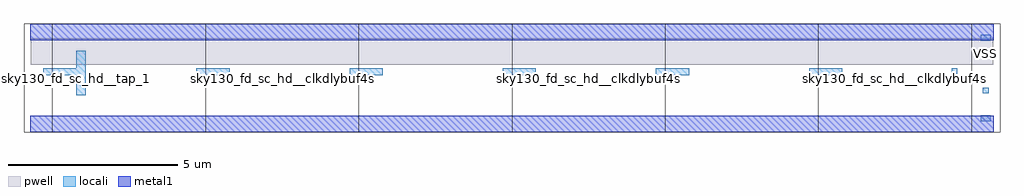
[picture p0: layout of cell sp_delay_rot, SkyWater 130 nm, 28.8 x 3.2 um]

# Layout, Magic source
magic
tech sky130A
magscale 1 2
<< pwell >>
rect 3 349 5681 506
<< locali >>
rect 5609 491 5667 527
rect 271 329 327 433
rect 5621 399 5655 433
rect 75 287 327 329
rect 979 287 1175 329
rect 1883 287 2079 329
rect 2787 287 2983 329
rect 3691 287 3887 329
rect 4595 287 4791 329
rect 5436 295 5470 329
rect 271 169 327 287
rect 5621 181 5655 215
rect 5609 17 5667 53
<< metal1 >>
rect 0 496 5684 592
rect 0 -48 5684 48
use sky130_fd_sc_hd__clkdlybuf4s50_2  sky130_fd_sc_hd__clkdlybuf4s50_2_0 $PDKPATH/libs.ref/sky130_fd_sc_hd/mag
transform -1 0 5516 0 -1 544
box -38 -48 866 592
use sky130_fd_sc_hd__clkdlybuf4s50_2  sky130_fd_sc_hd__clkdlybuf4s50_2_1
transform -1 0 4612 0 -1 544
box -38 -48 866 592
use sky130_fd_sc_hd__clkdlybuf4s50_2  sky130_fd_sc_hd__clkdlybuf4s50_2_2
transform -1 0 3708 0 -1 544
box -38 -48 866 592
use sky130_fd_sc_hd__clkdlybuf4s50_2  sky130_fd_sc_hd__clkdlybuf4s50_2_3
transform -1 0 2804 0 -1 544
box -38 -48 866 592
use sky130_fd_sc_hd__clkdlybuf4s50_2  sky130_fd_sc_hd__clkdlybuf4s50_2_4
transform -1 0 1900 0 -1 544
box -38 -48 866 592
use sky130_fd_sc_hd__clkdlybuf4s50_2  sky130_fd_sc_hd__clkdlybuf4s50_2_5
transform -1 0 996 0 -1 544
box -38 -48 866 592
use sky130_fd_sc_hd__tap_1  sky130_fd_sc_hd__tap_1_0 $PDKPATH/libs.ref/sky130_fd_sc_hd/mag
transform -1 0 5684 0 -1 544
box -38 -48 130 592
use sky130_fd_sc_hd__tap_1  sky130_fd_sc_hd__tap_1_1
transform -1 0 92 0 -1 544
box -38 -48 130 592
<< labels >>
rlabel locali 5621 181 5655 215 1 VCC
port 1 s
rlabel locali 5621 399 5655 433 1 VSS
port 2 s
rlabel locali 5436 295 5470 329 1 VIN
port 3 s
rlabel locali 271 169 327 433 1 VOUT
port 4 s
<< end >>
